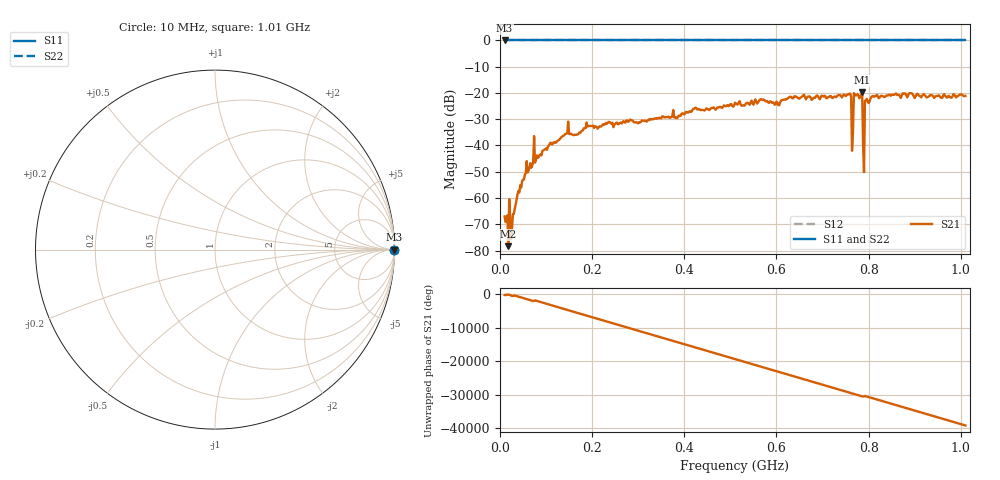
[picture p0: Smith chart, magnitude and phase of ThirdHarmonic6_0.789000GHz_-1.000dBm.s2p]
! 8/16/2025 2:20:07 AM
! C:\ANRITSUVNA\TEMP\TEMP.S2P
! CHANNEL.1
! TR.MEASUREMENT
! RAW.DATA
! RF.CORRECTION.OFF
! AVERAGING.OFF
! IF.BANDWIDTH: 5KHZ
! SWEEPTYPE:  FREQ.SWEEP(Linear)
! Reference Plane Port Info
! PORT:  PORT1  PORT2
! DISTANCE:  0  m  0  m
! TIME:  0  s  0  s
! PHASE.OFFSET:  0  deg.  0  deg.
! LOSS:  0  dB  0  dB
! REF.LOSS:  0  dB  0  dB
! REF.FREQ:  0  Hz  0  Hz
! Power Info
! POWER:  -20  dBm  -20  dBm
! EFF.POWER:  -20  dBm  -20  dBm
! SOURCE.ATTEN:  0  dB  0  dB
! TEST.ATTEN:  0  dB  0  dB
# GHZ S RI R 50.0
! FREQ.GHZ  S11RE  S11IM  S21RE  S21IM  S12RE  S12IM  S22RE  S22IM
!; PortSelection: Port_12
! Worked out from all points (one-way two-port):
!   501 points, 10 MHz to 1.01 GHz, reference 50 ohm
!   highest |S21| = -19.81 dB at 786 MHz (marker M1); lowest = -78.3 dB at 18 MHz (marker M2)
!   lowest |S11| = 0.0 dB at 10 MHz (marker M3)
!   |S11| at or under -10 dB: nowhere
!   |S22| runs from 0.0 to 0.0 dB; largest |S21 - S12| = 1.1
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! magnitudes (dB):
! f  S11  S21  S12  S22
! 10 MHz  0.0  -67.0  0.0  0.0
! 18 MHz  0.0  -78.3  0.0  0.0
! 22 MHz  0.0  -67.1  0.0  0.0
! 28 MHz  0.0  -66.2  0.0  0.0
! 40 MHz  0.0  -57.3  0.0  0.0
! 76 MHz  0.0  -46.5  0.0  0.0
! 144 MHz  0.0  -35.4  0.0  0.0
! 178 MHz  0.0  -34.4  0.0  0.0
! 344 MHz  0.0  -29.6  0.0  0.0
! 510 MHz  0.0  -23.7  0.0  0.0
! 678 MHz  0.0  -22.4  0.0  0.0
! 758 MHz  0.0  -20.3  0.0  0.0
! 762 MHz  0.0  -21.4  0.0  0.0
! 766 MHz  0.0  -35.1  0.0  0.0
! 768 MHz  0.0  -20.1  0.0  0.0
! 772 MHz  0.0  -21.0  0.0  0.0
! 782 MHz  0.0  -21.2  0.0  0.0
! 786 MHz  0.0  -19.8  0.0  0.0
! 792 MHz  0.0  -23.0  0.0  0.0
! 796 MHz  0.0  -22.3  0.0  0.0
! 844 MHz  0.0  -20.7  0.0  0.0
! 1.01 GHz  0.0  -21.1  0.0  0.0
